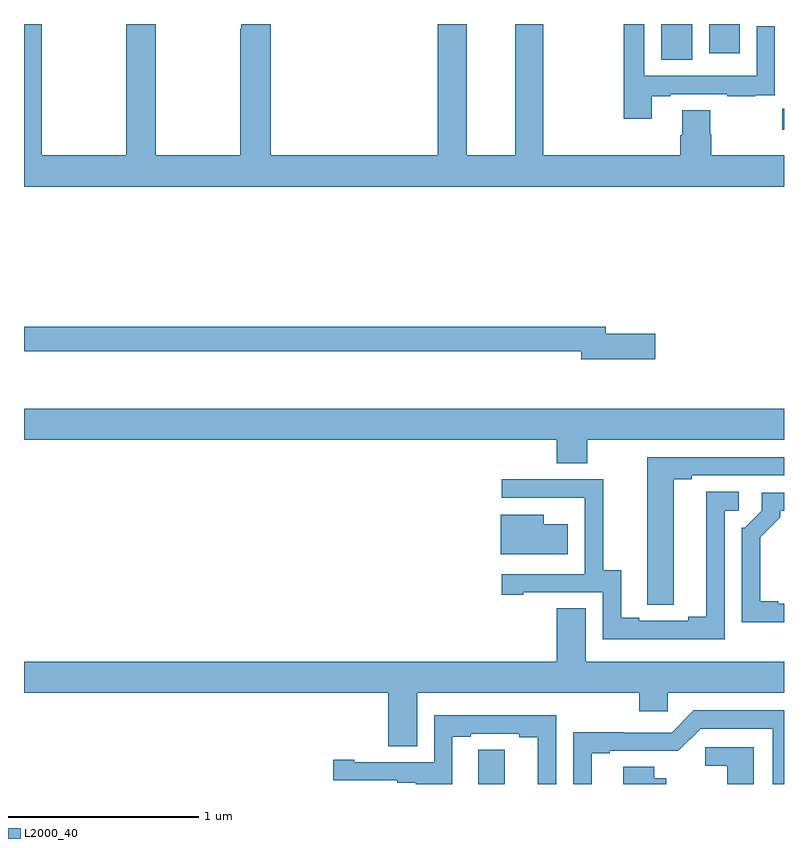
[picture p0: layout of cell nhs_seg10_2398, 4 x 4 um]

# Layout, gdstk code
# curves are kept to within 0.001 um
import gdstk
lib = gdstk.Library(unit=1e-6, precision=1e-09)
def R(c, l, rs):  # rectangles x0, y0, x1, y1
    for r in rs: c.add(gdstk.rectangle(r[:2], r[2:], *l))
def P(c, l, *ps):  # polygons
    for p in ps: c.add(gdstk.Polygon(p, *l))
L2000_40 = (2000, 40)

nhs_seg10_2398 = lib.new_cell('nhs_seg10_2398')
R(nhs_seg10_2398, L2000_40, [(242.991,1305.944,243,1306.054), (242.354,1306.312,242.518,1306.5), (242.606,1306.347,242.767,1306.5)])
P(nhs_seg10_2398, L2000_40, [(239.539,1306.5),(239.539,1305.808),(239.094,1305.808),(239.094,1306.5),(239,1306.5),(239,1305.644),(243,1305.644),(243,1305.808),(242.618,1305.808),(242.618,1305.921),(242.613,1305.921),(242.613,1306.046),(242.465,1306.046),(242.465,1305.914),(242.453,1305.914),(242.453,1305.808),(241.734,1305.808),(241.734,1306.5),(241.586,1306.5),(241.586,1305.808),(241.33,1305.808),(241.33,1306.5),(241.178,1306.5),(241.178,1305.808),(240.299,1305.808),(240.299,1306.5),(240.143,1306.5),(240.143,1306.475),(240.139,1306.475),(240.139,1305.808),(239.694,1305.808),(239.694,1306.5)],
  [(242.305,1306.119),(242.401,1306.119),(242.401,1306.131),(242.701,1306.131),(242.701,1306.119),(242.849,1306.119),(242.849,1306.125),(242.951,1306.125),(242.951,1306.234),(242.952,1306.234),(242.952,1306.489),(242.856,1306.489),(242.856,1306.227),(242.265,1306.227),(242.265,1306.5),(242.157,1306.5),(242.157,1306.002),(242.305,1306.002)],
  [(242.323,1304.87),(242.062,1304.87),(242.062,1304.906),(239,1304.906),(239,1304.778),(241.934,1304.778),(241.934,1304.735),(242.323,1304.735)],
  [(241.965,1304.312),(243,1304.312),(243,1304.476),(239,1304.476),(239,1304.312),(241.805,1304.312),(241.805,1304.188),(241.965,1304.188)],
  [(242.419,1304.104),(242.515,1304.104),(242.515,1304.124),(243,1304.124),(243,1304.22),(242.279,1304.22),(242.279,1303.552),(242.28,1303.552),(242.28,1303.444),(242.419,1303.444)],
  [(242.688,1303.938),(242.761,1303.938),(242.761,1304.039),(242.591,1304.039),(242.591,1303.379),(242.495,1303.379),(242.495,1303.359),(242.239,1303.359),(242.239,1303.374),(242.143,1303.374),(242.143,1303.625),(242.049,1303.625),(242.049,1304.103),(241.515,1304.103),(241.515,1304.007),(241.949,1304.007),(241.949,1304.006),(241.95,1304.006),(241.95,1303.605),(241.515,1303.605),(241.515,1303.497),(241.627,1303.497),(241.627,1303.509),(242.046,1303.509),(242.046,1303.263),(242.688,1303.263)],
  [(243,1303.449),(242.971,1303.449),(242.971,1303.462),(242.875,1303.462),(242.875,1303.798),(242.98,1303.903),(242.98,1303.938),(243,1303.938),(243,1304.034),(242.883,1304.034),(242.883,1303.938),(242.793,1303.848),(242.778,1303.848),(242.778,1303.352),(243,1303.352)],
  [(241.861,1303.867),(241.735,1303.867),(241.735,1303.918),(241.508,1303.918),(241.508,1303.709),(241.861,1303.709)],
  [(239,1302.98),(240.917,1302.98),(240.917,1302.7),(241.069,1302.7),(241.069,1302.98),(242.237,1302.98),(242.237,1302.882),(242.388,1302.882),(242.388,1302.98),(243,1302.98),(243,1303.144),(241.957,1303.144),(241.957,1303.424),(241.805,1303.424),(241.805,1303.144),(239,1303.144)],
  [(241.987,1302.663),(242.083,1302.663),(242.083,1302.675),(242.444,1302.674),(242.562,1302.792),(242.942,1302.792),(242.942,1302.5),(243,1302.5),(243,1302.888),(242.526,1302.888),(242.409,1302.771),(242.153,1302.771),(242.153,1302.773),(241.89,1302.773),(241.89,1302.5),(241.987,1302.5)],
  [(241.255,1302.75),(241.351,1302.75),(241.351,1302.765),(241.607,1302.765),(241.607,1302.745),(241.703,1302.745),(241.703,1302.5),(241.8,1302.5),(241.8,1302.861),(241.158,1302.861),(241.158,1302.615),(240.739,1302.615),(240.739,1302.628),(240.627,1302.628),(240.627,1302.519),(240.965,1302.519),(240.965,1302.507),(241.061,1302.507),(241.061,1302.5),(241.255,1302.5)],
  [(242.842,1302.693),(242.586,1302.693),(242.586,1302.596),(242.702,1302.596),(242.702,1302.5),(242.842,1302.5)],
  [(241.531,1302.68),(241.392,1302.68),(241.392,1302.572),(241.391,1302.572),(241.391,1302.5),(241.531,1302.5)],
  [(242.38,1302.529),(242.317,1302.529),(242.317,1302.59),(242.153,1302.59),(242.153,1302.5),(242.38,1302.5)])

lib.write_gds('nhs_seg10_2398.gds')
